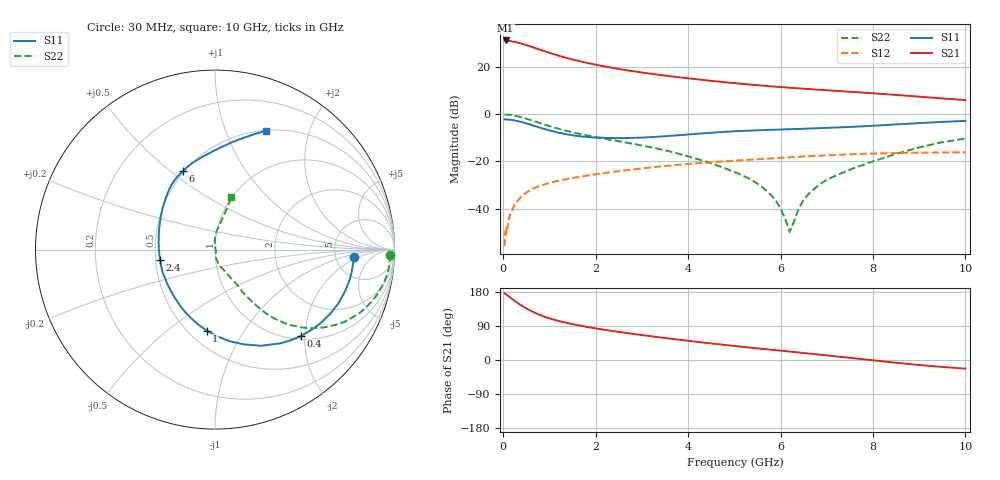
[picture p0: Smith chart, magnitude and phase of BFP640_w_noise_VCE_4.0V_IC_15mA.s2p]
! Infineon Technologies  Discrete & RF Semiconductors
! BFP640
! VCE =  4.0 V,  IC =  15 mA
! Common Emitter S-Parameters:  Apr 2013
# GHz  S  MA  R  50
!  f  S11  S21  S12  S22
! GHz  MAG  ANG  MAG  ANG  MAG  ANG  MAG  ANG
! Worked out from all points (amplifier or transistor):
!   99 points, 30 MHz to 10 GHz, reference 50 ohm
!   highest |S21| = 31.2 dB at 50 MHz (marker M1)
!   |S21| within 3 dB of that: start of sweep to 659 MHz
!   unconditionally stable (mu >= 1): 3.098 GHz to end of sweep
!   at 350 MHz: K = 0.24, MSG = 33.0 dB, |S12| = -35.8 dB
!   at 3.5 GHz: K = 1.02, MAG = 18.2 dB, |S12| = -22.0 dB
!   at 10 GHz: K = 1.08, MAG = 9.3 dB, |S12| = -16.2 dB
!   lowest NFmin = 0.75 dB at 450 MHz
!   S11 on the Smith chart (normalised r, x): 30 MHz: 7.54, -1.63; 400 MHz: 1.07, -1.91; 1 GHz: 0.61, -0.69; 2.4 GHz: 0.53, -0.07; 6 GHz: 0.49, +0.55; 10 GHz: 0.51, +1.39
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0.03  0.7752 -3.2  36.28 175.9  0.0016 64.2  0.9748 -1.8
0.05  0.7735 -5.6  36.37 174.4  0.0033 73.4  0.9775 -3.4
0.15  0.7608 -17.6  35.32 165.0  0.0075 76.8  0.9613 -10.6
0.25  0.7348 -29.0  33.87 155.9  0.0124 73.4  0.9269 -17.3
0.3  0.718 -34.5  32.95 151.6  0.0141 71.6  0.9055 -20.4
0.4  0.679 -45.1  31.09 143.5  0.0183 68.6  0.8544 -26.2
0.5  0.6372 -55.0  28.99 136.2  0.0217 66.1  0.8008 -31.3
0.6  0.5945 -64.3  26.91 129.6  0.0249 62.9  0.7462 -35.5
0.8  0.5162 -81.1  23.09 118.7  0.0302 58.5  0.6447 -42.2
1  0.4534 -95.9  19.89 110.0  0.0349 55.0  0.5599 -46.8
1.1  0.4276 -102.7  18.53 106.3  0.0369 54.2  0.5218 -48.5
1.3  0.3874 -114.9  16.19 100.1  0.0407 52.4  0.4612 -51.1
1.7  0.3363 -137.2  12.9 89.8  0.0479 49.7  0.3744 -53.8
2.4  0.3111 -169.0  9.432 75.9  0.0603 45.9  0.2787 -57.0
3.4  0.3361 157.1  6.759 59.6  0.0781 39.6  0.1805 -61.0
4.3  0.3902 135.5  5.326 46.4  0.0929 33.0  0.1047 -70.8
5.1  0.438 122.8  4.446 35.8  0.105 27.0  0.0545 -81.4
6  0.4718 112.3  3.749 24.7  0.1188 20.4  0.0101 -63.9
6.2  0.4786 110.3  3.627 22.3  0.1219 18.7  0.0032 7.2
6.7  0.4995 104.3  3.357 16.0  0.1298 14.4  0.0248 87.4
8.5  0.606 80.9  2.555 -7.3  0.1505 -2.5  0.1436 79.4
10  0.7194 66.9  1.987 -22.8  0.1553 -13.9  0.3038 73.0
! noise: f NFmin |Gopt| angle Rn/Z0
0.45  0.75  0.16  7  0.02
0.9  0.77  0.15  15  0.02
1.5  0.79  0.12  26  0.04
1.9  0.79  0.09  43  0.04
2.4  0.82  0.13  -116  0.05
3.5  0.95  0.19  -105  0.07
5.5  1.16  0.22  -100  0.12
10  1.69  0.57  -57  0.42
